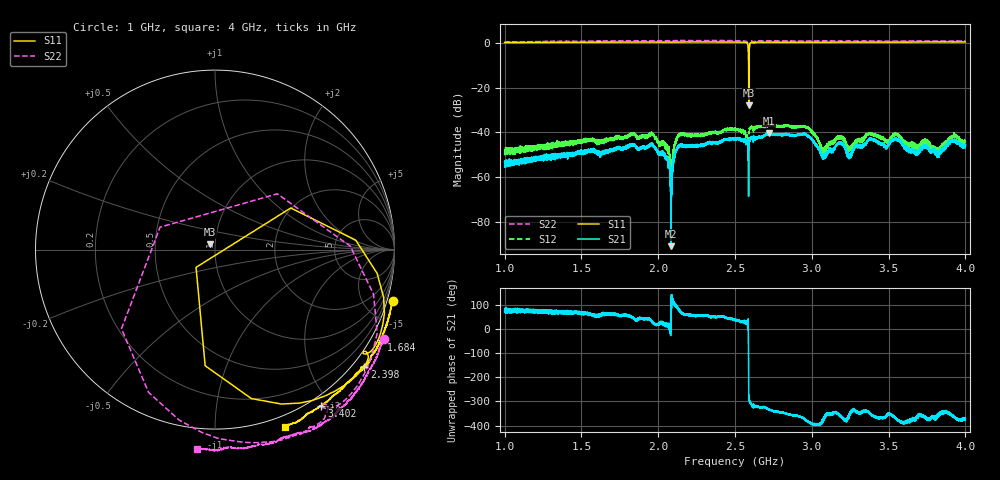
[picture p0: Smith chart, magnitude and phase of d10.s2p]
!Agilent Technologies,N5230C,SG49000117,A.08.50.07
!Agilent N5230C: A.08.50.07
!Date: Monday, May 20, 2024 20:18:56
!Correction: S11(Full 2 Port(1,2))
!S21(Full 2 Port(1,2))
!S12(Full 2 Port(1,2))
!S22(Full 2 Port(1,2))
!S2P File: Measurements: S11, S21, S12, S22:
# Hz S  MA  R 50
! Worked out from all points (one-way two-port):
!   20001 points, 1 GHz to 4 GHz, reference 50 ohm
!   highest |S21| = -40.24 dB at 2.72 GHz (marker M1); lowest = -91.0 dB at 2.084 GHz (marker M2)
!   lowest |S11| = -27.8 dB at 2.59 GHz (marker M3), VSWR 1.08, Z = 47.3 + j2.87 ohm
!   |S11| at or under -10 dB: 2.588694 GHz to 2.590614 GHz (1.92 MHz wide, 0.0742 % of centre)
!   |S22| runs from -10.8 to 1.2 dB; largest |S21 - S12| = 0.0087
!   S11 on the Smith chart (normalised r, x): 1 GHz: -0.76, -6.97; 1.684 GHz: -0.43, -3.88; 2.398 GHz: -0.27, -2.86; 3.402 GHz: -0.12, -1.89; 4 GHz: -0.10, -1.47
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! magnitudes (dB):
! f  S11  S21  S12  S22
! 1 GHz  0.3  -53.0  -49.0  0.5
! 1.5 GHz  0.4  -48.5  -43.8  0.8
! 1.684 GHz  0.5  -48.3  -42.8  1.0
! 1.955 GHz  0.5  -45.6  -40.4  1.0
! 2 GHz  0.4  -49.5  -44.4  1.0
! 2.055 GHz  0.4  -52.0  -47.0  1.1
! 2.084 GHz  0.4  -91.0  -68.9  1.1
! 2.14 GHz  0.5  -45.7  -41.3  1.1
! 2.398 GHz  0.5  -44.3  -39.8  1.1
! 2.5 GHz  0.5  -42.6  -38.3  1.1
! 2.59 GHz  -27.8  -45.6  -44.9  -10.8
! 2.608 GHz  0.4  -42.1  -37.3  0.9
! 2.72 GHz  0.4  -40.2  -36.6  1.0
! 3 GHz  0.4  -42.9  -40.0  1.0
! 3.078 GHz  0.4  -50.7  -48.3  1.0
! 3.173 GHz  0.4  -45.1  -42.5  1.0
! 3.245 GHz  0.4  -50.5  -46.8  0.9
! 3.402 GHz  0.4  -43.2  -41.0  1.0
! 3.5 GHz  0.4  -45.7  -43.7  0.9
! 3.817 GHz  0.5  -50.1  -48.7  0.9
! 3.924 GHz  0.5  -43.5  -41.3  0.9
! 4 GHz  0.5  -45.5  -43.9  1.0
